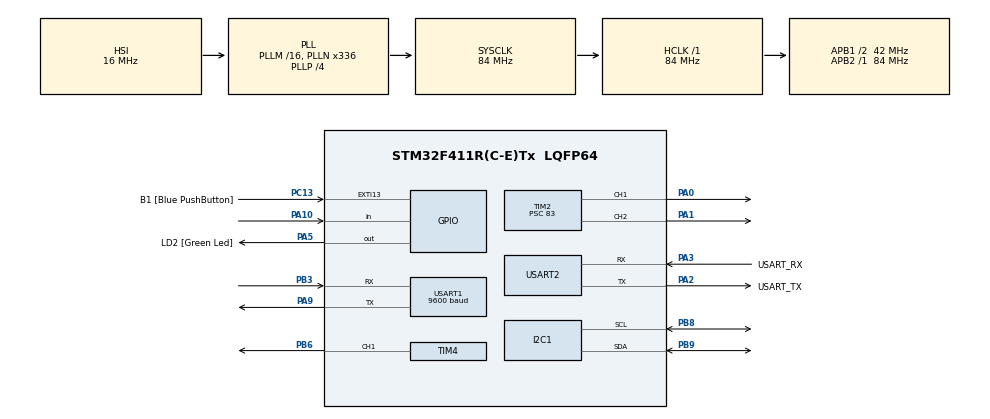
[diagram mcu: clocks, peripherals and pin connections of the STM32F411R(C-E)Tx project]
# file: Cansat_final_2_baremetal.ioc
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Mcu.Family=STM32F4
Mcu.Name=STM32F411R(C-E)Tx
Mcu.Package=LQFP64
NVIC.PriorityGroup=NVIC_PRIORITYGROUP_0
NVIC.TIM3_IRQn=true\:0\:0\:false\:false\:true\:true\:true\:true
NVIC.USART1_IRQn=true\:0\:0\:false\:false\:true\:true\:true\:true
PA0-WKUP.Signal=S_TIM2_CH1_ETR
PA1.Signal=S_TIM2_CH2
PA10.Signal=GPIO_Input
PA13.GPIO_Label=TMS
PA13.Mode=Serial_Wire
PA13.Signal=SYS_JTMS-SWDIO
PA14.GPIO_Label=TCK
PA14.Mode=Serial_Wire
PA14.Signal=SYS_JTCK-SWCLK
PA2.GPIO_Label=USART_TX
PA2.Mode=Asynchronous
PA2.Signal=USART2_TX
PA3.GPIO_Label=USART_RX
PA3.Mode=Asynchronous
PA3.Signal=USART2_RX
PA5.GPIO_Label=LD2 [Green Led]
PA5.Signal=GPIO_Output
PA9.Mode=Asynchronous
PA9.Signal=USART1_TX
PB3.Mode=Asynchronous
PB3.Signal=USART1_RX
PB6.Signal=S_TIM4_CH1
PB8.Mode=I2C
PB8.Signal=I2C1_SCL
PB9.Mode=I2C
PB9.Signal=I2C1_SDA
PC13-ANTI_TAMP.GPIO_Label=B1 [Blue PushButton]
PC13-ANTI_TAMP.GPIO_ModeDefaultEXTI=GPIO_MODE_IT_FALLING
PC13-ANTI_TAMP.Signal=GPXTI13
PC14-OSC32_IN.Mode=LSE-External-Oscillator
PC14-OSC32_IN.Signal=RCC_OSC32_IN
PC15-OSC32_OUT.Mode=LSE-External-Oscillator
PC15-OSC32_OUT.Signal=RCC_OSC32_OUT
PH0\ -\ OSC_IN.Mode=HSE-External-Clock-Source
PH0\ -\ OSC_IN.Signal=RCC_OSC_IN
PH1\ -\ OSC_OUT.Mode=HSE-External-Clock-Source
PH1\ -\ OSC_OUT.Signal=RCC_OSC_OUT
ProjectManager.HeapSize=0x200
ProjectManager.StackSize=0x400
ProjectManager.TargetToolchain=STM32CubeIDE
RCC.48MHZClocksFreq_Value=84000000
RCC.AHBFreq_Value=84000000
RCC.APB1CLKDivider=RCC_HCLK_DIV2
RCC.APB1Freq_Value=42000000
RCC.APB1TimFreq_Value=84000000
RCC.APB2Freq_Value=84000000
RCC.APB2TimFreq_Value=84000000
RCC.CortexFreq_Value=84000000
RCC.FLatency-AdvancedSettings=FLASH_LATENCY_2
RCC.HCLKFreq_Value=84000000
RCC.HSE_VALUE=8000000
RCC.HSI_VALUE=16000000
RCC.PLLN=336
RCC.PLLP=RCC_PLLP_DIV4
RCC.SYSCLKFreq_VALUE=84000000
RCC.SYSCLKSource=RCC_SYSCLKSOURCE_PLLCLK
RCC.VCOOutputFreq_Value=336000000
SH.S_TIM2_CH1_ETR.0=TIM2_CH1,PWM Generation1 CH1
SH.S_TIM2_CH2.0=TIM2_CH2,PWM Generation2 CH2
SH.S_TIM4_CH1.0=TIM4_CH1,PWM Generation1 CH1
TIM2.Channel-PWM\ Generation1\ CH1=TIM_CHANNEL_1
TIM2.Channel-PWM\ Generation2\ CH2=TIM_CHANNEL_2
TIM2.Period=19999
TIM2.Prescaler=83
TIM3.Period=41999
TIM3.Prescaler=1999
TIM4.Channel-PWM\ Generation1\ CH1=TIM_CHANNEL_1
TIM4.Period=19999
TIM4.Prescaler=83
USART1.BaudRate=9600
USART1.VirtualMode=VM_ASYNC
USART2.VirtualMode=VM_ASYNC
VP_TIM2_VS_ClockSourceINT.Mode=Internal
VP_TIM3_VS_ClockSourceINT.Mode=Internal
VP_TIM4_VS_ClockSourceINT.Mode=Internal
board=NUCLEO-F411RE

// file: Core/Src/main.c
/* USER CODE BEGIN Header */
/**
  ******************************************************************************
  * @file           : main.c
  * @brief          : Main program body
  ******************************************************************************
  * @attention
  *
  * Copyright (c) 2023 STMicroelectronics.
  * All rights reserved.
  *
  * This software is licensed under terms that can be found in the LICENSE file
  * in the root directory of this software component.
  * If no LICENSE file comes with this software, it is provided AS-IS.
  *
  ******************************************************************************
  */
/* USER CODE END Header */
#include "main.h"
#include "i2c.h"
#include "tim.h"
#include "usart.h"
#include "gpio.h"

/* USER CODE BEGIN Includes */

#include "Const.h"
#include "stdio.h"
#include <math.h>
#include "IMU_10DOF.h"
#include "data.h"
#include "types.h"
#include "servo.h"
#include "gps.h"
#include "pololu_sds01a.h"
#include "compass.h"
#include "stdlib.h"
#include "string.h"
/* USER CODE END Includes */

/* USER CODE BEGIN PV */

/******* Data structure *******/
TypeDataCansat pDataCansat;
/******************************/

/******* GPS ********/

/*
char uart_gps_rx[1];
char uart_pc_tx[1];
char coordonnees[GPS_TRAME_SIZE];

uint8_t it_rx_gps=0;
int first_data = 0;
int data_rdy = 0;
int i = 0;
*/

char uart_gps_rx[1];
char uart_pc_tx[1];
uint8_t it_rx_gps=0;

char coordonnees[GPS_TRAME_SIZE];
char longitude_data[10];
char latitude_data[10];
char altitude_data[5];
char position[49];
char lat2[2];
char lat7[7];
char long3[3];
char long7[7];
double lata;
double latb;
double latitude;
double longitude;
double altitude;

char satellites[2];

int i = 0;
int k = 0;

int first_data = 0;
int data_rdy = 0;
char uart_tx_buffer[128];
/********************/

/* USER CODE END PV */

void SystemClock_Config(void);

/* USER CODE BEGIN 0 */

int __io_putchar(int ch) {
HAL_UART_Transmit(&huart2, (uint8_t *)&ch, 1, HAL_MAX_DELAY);
return ch;
}

void HAL_UART_RxCpltCallback(UART_HandleTypeDef *huart){ // fonction de callback de l'UART

	if(huart == &huart1){

		it_rx_gps = 1;
		HAL_UART_Receive_IT(&huart1, (uint8_t *)&uart_gps_rx, 1);

	}

}

/* USER CODE END 0 */

int main(void)
{
  /* USER CODE BEGIN 1 */

	int gps_state = 0;

  /* USER CODE END 1 */

  /* MCU Configuration--------------------------------------------------------*/

  /* Reset of all peripherals, Initializes the Flash interface and the Systick. */
  HAL_Init();

  /* Configure the system clock */
  SystemClock_Config();

  /* Initialize all configured peripherals */
  MX_GPIO_Init();
  MX_USART2_UART_Init();
  MX_I2C1_Init();
  MX_TIM2_Init();
  MX_USART1_UART_Init();
  MX_TIM3_Init();
  MX_TIM4_Init();
  /* USER CODE BEGIN 2 */

  printf("------------------------\r\n");
  printf("------------------------\r\n");
  printf("------------------------\r\n");
  printf("------------------------\r\n");
  printf("initialisation du CanSat\r\n");
  printf("------------------------\r\n");
  printf("------------------------\r\n");
  printf("------------------------\r\n");
  printf("------------------------\r\n");

    int x=0;
    int i=0;
    int Devices[100]={0};

   uint8_t pData[100] = {0};

   /**********                           *********
    * ******** INIT MPU-9250 (IMU_10DOF) *********
    * ********                           *********
    */

   printf("initialisation de l'IMU \r\n \r\n");

   // Initialisation du capteur MPU-9250

   Init(&hi2c1);

   // vérification identité capteur MPU-9250

    pData[0]= WHO_AM_I_MPU9250;
    if(HAL_I2C_Master_Transmit(&hi2c1, MPU_ADD, pData, 1, HAL_MAX_DELAY) != HAL_OK )
    {
  	  printf("il y a une erreur avec I2C Master Transmit \r\n");
    }
    if(HAL_I2C_Master_Receive(&hi2c1, MPU_ADD, pData, 1, HAL_MAX_DELAY) != HAL_OK )
    {
  	  printf("il y a une erreur avec I2C Master Receive \r\n");
    }

    printf(" L'identifiant du capteur est : %x \r\n", pData[0]);
    if((pData[0] =! 0x71))
    {
  	  printf("ce n'est pas le bon capteur \r\n");
    }
    else
  	  printf("MPU-9250 identified \r\n");

    // vérification identité AK8963C (magnétomètre)

    pData[0]= WHO_AM_I_AK8963;
      if(HAL_I2C_Master_Transmit(&hi2c1, MAGNETO_ADD, pData, 1, HAL_MAX_DELAY) != HAL_OK )
      {
    	  printf("il y a une erreur avec I2C Master Transmit \r\n");
      }
      if(HAL_I2C_Master_Receive(&hi2c1, MAGNETO_ADD, pData, 1, HAL_MAX_DELAY) != HAL_OK )
      {
    	  printf("il y a une erreur avec I2C Master Receive \r\n");
      }

      printf(" L'identifiant du magnétomètre est : %x \r\n", pData[0]);
      if((pData[0] =! 0x48))
      {
    	  printf("ce n'est pas le bon capteur \r\n  ****** \r\n ****** \r\n ****** \r\n");
      }
      else
    	  printf("AK8963C identified \r\n  ****** \r\n ****** \r\n ****** \r\n");

  // check les périphériques i2c disponibles

    for (i=0;i<256;i++){
         	  if(HAL_I2C_IsDeviceReady(&hi2c1, i, 4, 20)==HAL_OK){
         		  Devices[x]=i;
         		  printf("%d \r\n",Devices[x]);
         		  x=x+1;
         	  }

           }

    /*********** Calibration du magnétomètre *************/
 /*
    printf("debut de la calibration : faire des 8 \r\n");
    HAL_Delay(2000);
    printf("calibration du magnetometre en cours... \r\n");
    Calib_mag(&hi2c1, mag_offset, mag_coeff);
    printf("calibration du magnetometre terminee \r\n *\r\n *\r\n *\r\n");
    HAL_Delay(2000);
 */

    /**********                    *********
     * ******** INITIALISATION GPS *********
     * ********                    *********
     */

    	 /***********************************************************
    	  *            entrée des données GPS de la cible
    	  ***********************************************************/

    	  //Position GPS cible : 43°13'18.7"N 0°03'10.0"W  --> données telles que décrites dans le règlement 2023

    	  pDataCansat.GPS.latitude_Target = 43.2218611;
    	  pDataCansat.GPS.longitude_Target = -0.05277777777777778;

    /**********                              *********
     * ******** INITIALISATION Pololu_sds01a *********
     * ********                              *********
     */

    uint16_t gpio_value = 0;
    int Drop_flag = 0; // flag that indicates if the Cansat probe has been launch, in order to begin the missions

    /**********                       *********
     * ******** INITIALISATION Servos *********
     * ********                       *********
     */

    int arm_deployment_flag = 1; // pour le déploiement des bras lors du largage

    int altitude_ouverture_ballons = 30; // altitude à partir de laquelle on démarre l'opération
    									 // d'ouverture de la structure gonflable
    									 // à déterminer expérimentalement --> !!!prendre en compte l'altitude locale

    HAL_TIM_PWM_Start(&htim2, TIM_CHANNEL_1);
    HAL_TIM_PWM_Start(&htim2, TIM_CHANNEL_2);

    __HAL_TIM_SET_COMPARE(&htim2, TIM_CHANNEL_1, 1100);   //repliement des bras pour rentrer dans la capsule de largage

    /************* INITIALISATION TIMER3 *************/ //pour calculer l'angle et déclencher le mouvement des servos toutes les secondes

    int demarrage_tim3 = 1;

    HAL_UART_Receive_IT(&huart1, (uint8_t *)&uart_gps_rx, 1);

  /* USER CODE END 2 */

  /* Infinite loop */
  /* USER CODE BEGIN WHILE */
  while (1)
  {
	  /************** Récupération des données GPS *************/

	  //GPS_data_reading(it_rx_gps, data_rdy, first_data, pDataCansat, coordonnees, uart_gps_rx, i);

	  if(it_rx_gps){
	  	  		if(data_rdy == 1){
	  	  				for(int j = 0; j<=50;j++){
	  	  					position[j] = coordonnees[j+18]; //position[] comprend la latitude et la longitude telles que sur la trame reçue
	  	  					//En effet, les coordonnes sont d'abord de cette forme : "$GNGGA,121933.000,4902.36627,N,00204.31287,E,1,05,13.3,0.0,M,0.0,M,,*4D"
	  	  					//On sélectionne donc la partie qui est après l'identifieur et l'heure mais avant le ",E,".
	  	  				}

	  	  				for(int k = 0; k<=9;k++){
	  	  					latitude_data[k] = position[k+1]; //latitude non convertie
	  	  				}
	  	  				for(int l = 0; l<=10;l++){
	  	  					longitude_data[l] = position[l+14]; //longitude non convertie
	  	  				}
	  	  				for(int h = 0; h<=4; h++){
	  	  					altitude_data[h] = position[h+37]; //altitude non convertie
	  	  				}

	  	  				lat2[0] = latitude_data[0];
	  	  				lat2[1] = latitude_data[1]; //lat2 -> les deux digits avant la virgue du degré de la lat.

	  	  				for(int m = 0; m<=6;m++){
	  	  					lat7[m] = latitude_data[m+2]; //lat 7 -> ce qui reste après la virgule de la lat.
	  	  				}

	  	  				long3[0] = longitude_data[0];
	  	  				long3[1] = longitude_data[1];
	  	  				long3[2] = longitude_data[2]; //long3 -> les trois digits avant la virgule du degré de la long.

	  	  				for(int n = 0; n<=6;n++){
	  	  					long7[n] = longitude_data[n+3]; //long7 -> ce qui reste après la virgule de la long.
	  	  				}

	  	  				float deg_lat = atof(lat2);
	  	  				float reste_lat = atof(lat7); //conversion du char[lat] en float[lat]

	  	  				float deg_long = atof(long3);
	  	  				float reste_long = atof(long7); //conversion du char[long] en float[long]

	  	  				pDataCansat.GPS.latitude_Cansat = deg_lat + (reste_lat/60); //latitude convertie
	  	  				pDataCansat.GPS.longitude_Cansat = deg_long + (reste_long/60); //longitude convertie
	  	  				pDataCansat.GPS.altitude_Cansat = atof(altitude_data);

	  	  				//printf("donnees du GPS : latitude = %f, longitude = %f, altitude = %f, - - - - - - - - GPS \r\n", pDataCansat.GPS.latitude_Cansat, pDataCansat.GPS.longitude_Cansat, pDataCansat.GPS.altitude_Cansat);

	  	  				//nombre de satellites
	  	  				for(int k = 0; k<2;k++){
	  	  				satellites[k] = coordonnees[k+45]; //satellites[] comprend le nombre de stellites que sur la trame reçue
	  	  				}
	  	  		}
	  	  		if(uart_gps_rx[0]==10){
	  	  			//HAL_UART_Transmit(&huart2, "\r\n", 2, HAL_MAX_DELAY); //Arrangement de la trame
	  	  		}
	  	  		else{
	  	  			uart_pc_tx[0]=uart_gps_rx[0];
	  	  			//HAL_UART_Transmit(&huart2, uart_pc_tx, 1, HAL_MAX_DELAY);
	  	  			coordonnees[i] = uart_pc_tx[0]; //On copie ce qui passe dans l'UART dans un tableau coordonnees[i].
	  	  			if(i >= 4){
	  	  				if(strncmp("OK*35",&coordonnees[i-4],5) == 0){
	  	  						i = 0; //Si on trouve "OK", on réinitialise i à 0 pour synchroniser notre trame.
	  	  						if(first_data == 1){
	  	  							data_rdy = 1; //Si la trame est initialisée, le premier caractère du tableau voulu est prêt.
	  	  						}
	  	  						else first_data = 1; //Permet d'enregistrer le tableau désiré.
	  	  					}
	  	  				else{
	  	  						if(i == GPS_TRAME_SIZE-1){
	  	  							i = 0;
	  	  						}
	  	  						else{
	  	  							i++;
	  	  					}

	  	  				}
	  	  			}
	  	  			else i++;
	  	  		}
	  	  	it_rx_gps = 0;
	  	  	}

	  /************** Détection du largage ***************/

	  if( Drop_flag == 0 )
	  {
	  Drop_flag = Drop_detection();
	  }

	  	  	  if(Drop_flag) // largage détecté, démarrage des missions
	  	  	  {
	  	  		 /*************** déploiement des bras *******************************/

	  	  		  if(arm_deployment_flag)
	  	  		  {
	  	  			__HAL_TIM_SET_COMPARE(&htim2, TIM_CHANNEL_1, 400); // déploiement bras gauche
	  	  		//	__HAL_TIM_SET_COMPARE(&htim2, TIM_CHANNEL_2, ?); // déploiement bras droit
	  	  			arm_deployment_flag = 0;
	  	  		  }

	  	  		 /*************** Lecture du champ magnétique terrestre **************/

	  	  		  Measure_M(&hi2c1, pDataCansat.IMU.MagnetometerData.mag_raw, pDataCansat.IMU.MagnetometerData.offset, pDataCansat.IMU.MagnetometerData.offset);
	  	  		  //printf("champ magnetique --- selon x : %f , selon y : %f \r\n", pDataCansat.IMU.MagnetometerData.mag_raw[0], pDataCansat.IMU.MagnetometerData.mag_raw[1]);
	  	  		  HAL_Delay(50);

	  	  		 /*************** Conversion du champ magnétique en degrées **************/

	  	  		  pDataCansat.IMU.MagnetometerData.degree_angle = magnetic_field_to_degree(pDataCansat.IMU.MagnetometerData.mag_raw);

	  	  		  if( demarrage_tim3 )
	  	  		  {
	  	  			if(HAL_TIM_Base_Start_IT(&htim3) != HAL_OK)
	  	  			{
	  	  				printf("defaut d'initialisation du tim3");
	  	  			}
	  	  			demarrage_tim3 = 0;
	  	  		  }

	  	  		  if(pDataCansat.GPS.altitude_Cansat <= altitude_ouverture_ballons )
	  	  		  {
	  	  			  // fonction d'ouverture des ballons
	  	  			 declenchement_structure_gonflable();
	  	  		  }
	  	  	  }

    /* USER CODE END WHILE */

  }
}

void SystemClock_Config(void)
{
  RCC_OscInitTypeDef RCC_OscInitStruct = {0};
  RCC_ClkInitTypeDef RCC_ClkInitStruct = {0};

  /** Configure the main internal regulator output voltage
  */
  __HAL_RCC_PWR_CLK_ENABLE();
  __HAL_PWR_VOLTAGESCALING_CONFIG(PWR_REGULATOR_VOLTAGE_SCALE1);

  /** Initializes the RCC Oscillators according to the specified parameters
  * in the RCC_OscInitTypeDef structure.
  */
  RCC_OscInitStruct.OscillatorType = RCC_OSCILLATORTYPE_HSI;
  RCC_OscInitStruct.HSIState = RCC_HSI_ON;
  RCC_OscInitStruct.HSICalibrationValue = RCC_HSICALIBRATION_DEFAULT;
  RCC_OscInitStruct.PLL.PLLState = RCC_PLL_ON;
  RCC_OscInitStruct.PLL.PLLSource = RCC_PLLSOURCE_HSI;
  RCC_OscInitStruct.PLL.PLLM = 16;
  RCC_OscInitStruct.PLL.PLLN = 336;
  RCC_OscInitStruct.PLL.PLLP = RCC_PLLP_DIV4;
  RCC_OscInitStruct.PLL.PLLQ = 4;
  if (HAL_RCC_OscConfig(&RCC_OscInitStruct) != HAL_OK)
  {
    Error_Handler();
  }

  /** Initializes the CPU, AHB and APB buses clocks
  */
  RCC_ClkInitStruct.ClockType = RCC_CLOCKTYPE_HCLK|RCC_CLOCKTYPE_SYSCLK
                              |RCC_CLOCKTYPE_PCLK1|RCC_CLOCKTYPE_PCLK2;
  RCC_ClkInitStruct.SYSCLKSource = RCC_SYSCLKSOURCE_PLLCLK;
  RCC_ClkInitStruct.AHBCLKDivider = RCC_SYSCLK_DIV1;
  RCC_ClkInitStruct.APB1CLKDivider = RCC_HCLK_DIV2;
  RCC_ClkInitStruct.APB2CLKDivider = RCC_HCLK_DIV1;

  if (HAL_RCC_ClockConfig(&RCC_ClkInitStruct, FLASH_LATENCY_2) != HAL_OK)
  {
    Error_Handler();
  }
}

void Error_Handler(void)
{
  __disable_irq();
  while (1)
  {
  }
}
